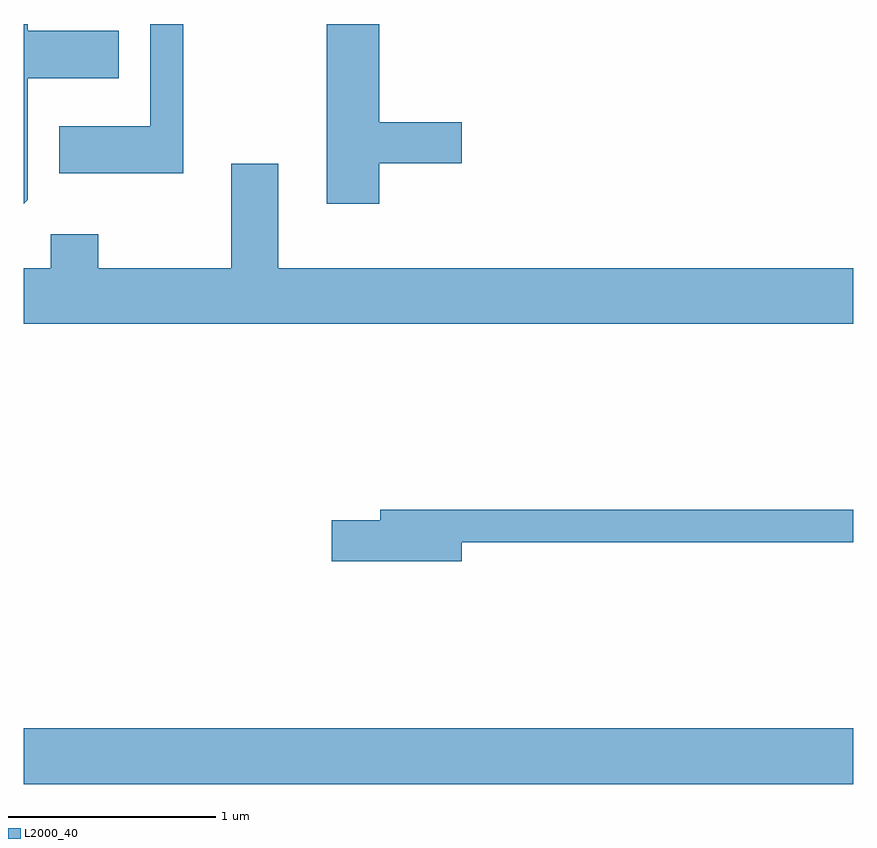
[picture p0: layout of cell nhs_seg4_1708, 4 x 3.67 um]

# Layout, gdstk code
import gdstk
lib = gdstk.Library(unit=1e-6, precision=1e-09)
def R(c, l, rs):  # rectangles x0, y0, x1, y1
    for r in rs: c.add(gdstk.rectangle(r[:2], r[2:], *l))
def P(c, l, *ps):  # polygons
    for p in ps: c.add(gdstk.Polygon(p, *l))
L2000_40 = (2000, 40)

nhs_seg4_1708 = lib.new_cell('nhs_seg4_1708')
R(nhs_seg4_1708, L2000_40, [(235.611,1270.316,239.611,1270.584)])
P(nhs_seg4_1708, L2000_40, [(236.379,1273.982),(236.221,1273.982),(236.221,1273.489),(235.781,1273.489),(235.781,1273.261),(236.379,1273.261)],
  [(235.629,1273.134),(235.629,1273.721),(236.069,1273.721),(236.069,1273.949),(235.629,1273.949),(235.629,1273.982),(235.611,1273.982),(235.611,1273.116)],
  [(237.324,1273.311),(237.724,1273.311),(237.724,1273.509),(237.324,1273.509),(237.324,1273.982),(237.071,1273.982),(237.071,1273.116),(237.324,1273.116)],
  [(239.611,1272.804),(236.839,1272.804),(236.839,1273.309),(236.611,1273.309),(236.611,1272.804),(235.969,1272.804),(235.969,1272.969),(235.741,1272.969),(235.741,1272.804),(235.611,1272.804),(235.611,1272.536),(239.611,1272.536)],
  [(237.724,1271.481),(239.611,1271.481),(239.611,1271.639),(237.331,1271.639),(237.331,1271.589),(237.096,1271.589),(237.096,1271.391),(237.724,1271.391)])

lib.write_gds('nhs_seg4_1708.gds')
